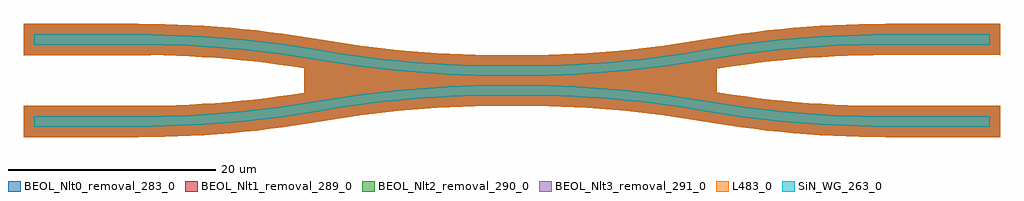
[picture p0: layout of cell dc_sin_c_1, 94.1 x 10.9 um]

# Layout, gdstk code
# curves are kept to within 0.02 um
import gdstk
lib = gdstk.Library(unit=1e-6, precision=1e-09)
def R(c, l, rs):  # rectangles x0, y0, x1, y1
    for r in rs: c.add(gdstk.rectangle(r[:2], r[2:], *l))
def P(c, l, *ps):  # polygons
    for p in ps: c.add(gdstk.Polygon(p, *l))
SiN_WG_263_0 = (263, 0)
BEOL_Nlt0_removal_283_0 = (283, 0)
BEOL_Nlt1_removal_289_0 = (289, 0)
BEOL_Nlt2_removal_290_0 = (290, 0)
BEOL_Nlt3_removal_291_0 = (291, 0)
L483_0 = (483, 0)

c_v2 = lib.new_cell('V2')
R(c_v2, SiN_WG_263_0, [(0,0,10,1), (82.1,0,92.1,1), (45,3,47.1,4), (45,4.9,47.1,5.9), (0,7.9,10,8.9), (82.1,7.9,92.1,8.9)])
P(c_v2, SiN_WG_263_0, [(82.1,0),(78.314,0.068),(75.793,0.192),(73.276,0.376),(70.764,0.623),(68.258,0.93),(64.515,1.507),(64.685,2.493),(68.391,1.922),(70.873,1.617),(73.361,1.373),(77.102,1.121),(79.6,1.03),(82.1,1)],
  [(64.515,1.507),(60.809,2.078),(58.327,2.383),(55.839,2.627),(52.098,2.879),(49.6,2.97),(47.1,3),(47.1,4),(50.886,3.932),(54.666,3.724),(58.436,3.377),(62.192,2.893),(64.685,2.493)],
  [(27.585,1.507),(27.415,2.493),(29.908,2.893),(33.664,3.377),(37.434,3.724),(41.214,3.932),(45,4),(45,3),(42.5,2.97),(40.002,2.879),(36.261,2.627),(33.773,2.383),(31.291,2.078)],
  [(10,0),(10,1),(12.5,1.03),(14.998,1.121),(18.739,1.373),(21.227,1.617),(23.709,1.922),(27.415,2.493),(27.585,1.507),(23.842,0.93),(21.336,0.623),(18.824,0.376),(16.307,0.192),(13.786,0.068)],
  [(64.685,6.407),(64.515,7.393),(67.008,7.793),(70.764,8.277),(74.534,8.624),(78.314,8.832),(82.1,8.9),(82.1,7.9),(79.6,7.87),(77.102,7.779),(73.361,7.527),(70.873,7.283),(68.391,6.978)],
  [(47.1,4.9),(47.1,5.9),(49.6,5.93),(52.098,6.021),(55.839,6.273),(58.327,6.517),(60.809,6.822),(64.515,7.393),(64.685,6.407),(60.942,5.83),(58.436,5.523),(55.924,5.276),(53.407,5.092),(50.886,4.968)],
  [(45,4.9),(41.214,4.968),(38.693,5.092),(36.176,5.276),(33.664,5.523),(31.158,5.83),(27.415,6.407),(27.585,7.393),(31.291,6.822),(33.773,6.517),(36.261,6.273),(40.002,6.021),(42.5,5.93),(45,5.9)],
  [(27.415,6.407),(23.709,6.978),(21.227,7.283),(18.739,7.527),(14.998,7.779),(12.5,7.87),(10,7.9),(10,8.9),(13.786,8.832),(17.566,8.624),(21.336,8.277),(25.092,7.793),(27.585,7.393)])

v2_nit0 = lib.new_cell('V2_nit0')
P(v2_nit0, BEOL_Nlt0_removal_283_0, [(-1,-1),(-1,2),(11.244,2.007),(14.943,2.119),(18.652,2.369),(21.123,2.611),(23.581,2.914),(26.017,3.273),(26.017,5.627),(23.581,5.986),(21.123,6.289),(18.652,6.531),(16.179,6.713),(13.719,6.832),(9.994,6.9),(-1,6.9),(-1,9.9),(11.274,9.893),(13.822,9.831),(16.368,9.706),(18.91,9.52),(22.712,9.124),(25.238,8.782),(28.983,8.173),(31.419,7.814),(35.12,7.382),(37.574,7.172),(40.057,7.019),(42.53,6.93),(45.006,6.9),(48.344,6.907),(50.819,6.968),(53.279,7.087),(55.752,7.269),(58.223,7.511),(60.681,7.814),(63.117,8.173),(66.862,8.782),(69.388,9.124),(73.19,9.52),(75.732,9.706),(78.278,9.831),(80.826,9.893),(93.1,9.9),(93.1,6.9),(80.856,6.893),(77.157,6.781),(73.448,6.531),(70.977,6.289),(68.519,5.986),(65.788,5.578),(65.788,3.322),(68.519,2.914),(70.977,2.611),(73.448,2.369),(75.921,2.187),(78.381,2.068),(82.106,2),(93.1,2),(93.1,-1),(80.826,-0.993),(78.278,-0.931),(75.732,-0.806),(73.19,-0.62),(69.388,-0.224),(66.862,0.118),(63.13,0.725),(60.681,1.086),(56.98,1.518),(54.526,1.728),(52.043,1.881),(49.57,1.97),(47.094,2),(43.756,1.993),(41.281,1.932),(38.821,1.813),(36.348,1.631),(33.877,1.389),(31.419,1.086),(28.97,0.725),(25.238,0.118),(22.712,-0.224),(18.91,-0.62),(16.368,-0.806),(13.822,-0.931),(11.274,-0.993)])

v2_nit1 = lib.new_cell('V2_nit1')
P(v2_nit1, BEOL_Nlt1_removal_289_0, [(-1,-1),(-1,2),(11.244,2.007),(14.943,2.119),(18.652,2.369),(21.123,2.611),(23.581,2.914),(26.017,3.273),(26.017,5.627),(23.581,5.986),(21.123,6.289),(18.652,6.531),(16.179,6.713),(13.719,6.832),(9.994,6.9),(-1,6.9),(-1,9.9),(11.274,9.893),(13.822,9.831),(16.368,9.706),(18.91,9.52),(22.712,9.124),(25.238,8.782),(28.983,8.173),(31.419,7.814),(35.12,7.382),(37.574,7.172),(40.057,7.019),(42.53,6.93),(45.006,6.9),(48.344,6.907),(50.819,6.968),(53.279,7.087),(55.752,7.269),(58.223,7.511),(60.681,7.814),(63.117,8.173),(66.862,8.782),(69.388,9.124),(73.19,9.52),(75.732,9.706),(78.278,9.831),(80.826,9.893),(93.1,9.9),(93.1,6.9),(80.856,6.893),(77.157,6.781),(73.448,6.531),(70.977,6.289),(68.519,5.986),(65.788,5.578),(65.788,3.322),(68.519,2.914),(70.977,2.611),(73.448,2.369),(75.921,2.187),(78.381,2.068),(82.106,2),(93.1,2),(93.1,-1),(80.826,-0.993),(78.278,-0.931),(75.732,-0.806),(73.19,-0.62),(69.388,-0.224),(66.862,0.118),(63.13,0.725),(60.681,1.086),(56.98,1.518),(54.526,1.728),(52.043,1.881),(49.57,1.97),(47.094,2),(43.756,1.993),(41.281,1.932),(38.821,1.813),(36.348,1.631),(33.877,1.389),(31.419,1.086),(28.97,0.725),(25.238,0.118),(22.712,-0.224),(18.91,-0.62),(16.368,-0.806),(13.822,-0.931),(11.274,-0.993)])

v2_nit2 = lib.new_cell('V2_nit2')
P(v2_nit2, BEOL_Nlt2_removal_290_0, [(-1,-1),(-1,2),(11.244,2.007),(14.943,2.119),(18.652,2.369),(21.123,2.611),(23.581,2.914),(26.017,3.273),(26.017,5.627),(23.581,5.986),(21.123,6.289),(18.652,6.531),(16.179,6.713),(13.719,6.832),(9.994,6.9),(-1,6.9),(-1,9.9),(11.274,9.893),(13.822,9.831),(16.368,9.706),(18.91,9.52),(22.712,9.124),(25.238,8.782),(28.983,8.173),(31.419,7.814),(35.12,7.382),(37.574,7.172),(40.057,7.019),(42.53,6.93),(45.006,6.9),(48.344,6.907),(50.819,6.968),(53.279,7.087),(55.752,7.269),(58.223,7.511),(60.681,7.814),(63.117,8.173),(66.862,8.782),(69.388,9.124),(73.19,9.52),(75.732,9.706),(78.278,9.831),(80.826,9.893),(93.1,9.9),(93.1,6.9),(80.856,6.893),(77.157,6.781),(73.448,6.531),(70.977,6.289),(68.519,5.986),(65.788,5.578),(65.788,3.322),(68.519,2.914),(70.977,2.611),(73.448,2.369),(75.921,2.187),(78.381,2.068),(82.106,2),(93.1,2),(93.1,-1),(80.826,-0.993),(78.278,-0.931),(75.732,-0.806),(73.19,-0.62),(69.388,-0.224),(66.862,0.118),(63.13,0.725),(60.681,1.086),(56.98,1.518),(54.526,1.728),(52.043,1.881),(49.57,1.97),(47.094,2),(43.756,1.993),(41.281,1.932),(38.821,1.813),(36.348,1.631),(33.877,1.389),(31.419,1.086),(28.97,0.725),(25.238,0.118),(22.712,-0.224),(18.91,-0.62),(16.368,-0.806),(13.822,-0.931),(11.274,-0.993)])

v2_nit3 = lib.new_cell('V2_nit3')
P(v2_nit3, BEOL_Nlt3_removal_291_0, [(-1,-1),(-1,2),(11.244,2.007),(14.943,2.119),(18.652,2.369),(21.123,2.611),(23.581,2.914),(26.017,3.273),(26.017,5.627),(23.581,5.986),(21.123,6.289),(18.652,6.531),(16.179,6.713),(13.719,6.832),(9.994,6.9),(-1,6.9),(-1,9.9),(11.274,9.893),(13.822,9.831),(16.368,9.706),(18.91,9.52),(22.712,9.124),(25.238,8.782),(28.983,8.173),(31.419,7.814),(35.12,7.382),(37.574,7.172),(40.057,7.019),(42.53,6.93),(45.006,6.9),(48.344,6.907),(50.819,6.968),(53.279,7.087),(55.752,7.269),(58.223,7.511),(60.681,7.814),(63.117,8.173),(66.862,8.782),(69.388,9.124),(73.19,9.52),(75.732,9.706),(78.278,9.831),(80.826,9.893),(93.1,9.9),(93.1,6.9),(80.856,6.893),(77.157,6.781),(73.448,6.531),(70.977,6.289),(68.519,5.986),(65.788,5.578),(65.788,3.322),(68.519,2.914),(70.977,2.611),(73.448,2.369),(75.921,2.187),(78.381,2.068),(82.106,2),(93.1,2),(93.1,-1),(80.826,-0.993),(78.278,-0.931),(75.732,-0.806),(73.19,-0.62),(69.388,-0.224),(66.862,0.118),(63.13,0.725),(60.681,1.086),(56.98,1.518),(54.526,1.728),(52.043,1.881),(49.57,1.97),(47.094,2),(43.756,1.993),(41.281,1.932),(38.821,1.813),(36.348,1.631),(33.877,1.389),(31.419,1.086),(28.97,0.725),(25.238,0.118),(22.712,-0.224),(18.91,-0.62),(16.368,-0.806),(13.822,-0.931),(11.274,-0.993)])

v2_nitpasv = lib.new_cell('V2_nitpasv')
P(v2_nitpasv, L483_0, [(-1,-1),(-1,2),(11.244,2.007),(14.943,2.119),(18.652,2.369),(21.123,2.611),(23.581,2.914),(26.017,3.273),(26.017,5.627),(23.581,5.986),(21.123,6.289),(18.652,6.531),(16.179,6.713),(13.719,6.832),(9.994,6.9),(-1,6.9),(-1,9.9),(11.274,9.893),(13.822,9.831),(16.368,9.706),(18.91,9.52),(22.712,9.124),(25.238,8.782),(28.983,8.173),(31.419,7.814),(35.12,7.382),(37.574,7.172),(40.057,7.019),(42.53,6.93),(45.006,6.9),(48.344,6.907),(50.819,6.968),(53.279,7.087),(55.752,7.269),(58.223,7.511),(60.681,7.814),(63.117,8.173),(66.862,8.782),(69.388,9.124),(73.19,9.52),(75.732,9.706),(78.278,9.831),(80.826,9.893),(93.1,9.9),(93.1,6.9),(80.856,6.893),(77.157,6.781),(73.448,6.531),(70.977,6.289),(68.519,5.986),(65.788,5.578),(65.788,3.322),(68.519,2.914),(70.977,2.611),(73.448,2.369),(75.921,2.187),(78.381,2.068),(82.106,2),(93.1,2),(93.1,-1),(80.826,-0.993),(78.278,-0.931),(75.732,-0.806),(73.19,-0.62),(69.388,-0.224),(66.862,0.118),(63.13,0.725),(60.681,1.086),(56.98,1.518),(54.526,1.728),(52.043,1.881),(49.57,1.97),(47.094,2),(43.756,1.993),(41.281,1.932),(38.821,1.813),(36.348,1.631),(33.877,1.389),(31.419,1.086),(28.97,0.725),(25.238,0.118),(22.712,-0.224),(18.91,-0.62),(16.368,-0.806),(13.822,-0.931),(11.274,-0.993)])

dc_sin_c_1 = lib.new_cell('dc_sin_c_1')
dc_sin_c_1.add(gdstk.Reference(c_v2, (0,0)))
dc_sin_c_1.add(gdstk.Reference(v2_nit0, (0,0)))
dc_sin_c_1.add(gdstk.Reference(v2_nit1, (0,0)))
dc_sin_c_1.add(gdstk.Reference(v2_nit2, (0,0)))
dc_sin_c_1.add(gdstk.Reference(v2_nit3, (0,0)))
dc_sin_c_1.add(gdstk.Reference(v2_nitpasv, (0,0)))

lib.write_gds('dc_sin_c_1.gds')
